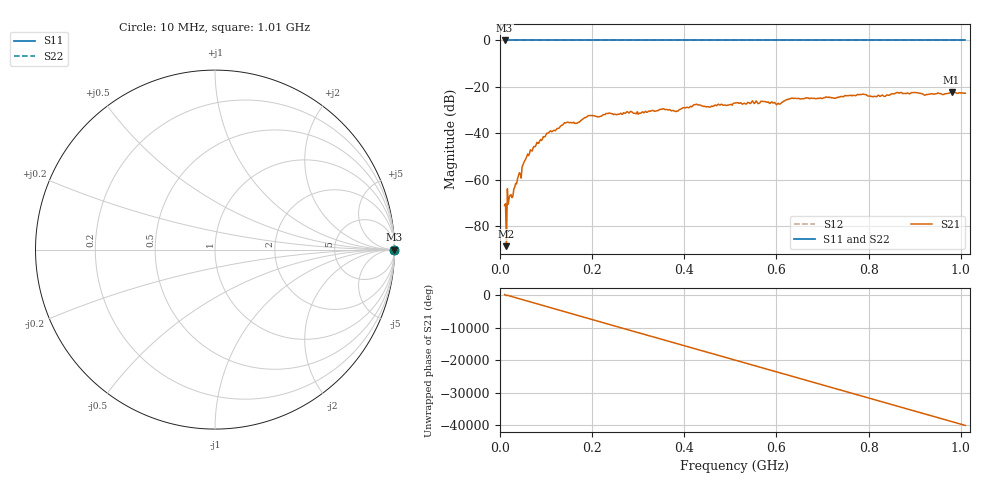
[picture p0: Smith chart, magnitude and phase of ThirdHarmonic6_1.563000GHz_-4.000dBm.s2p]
! 8/16/2025 6:34:12 PM
! C:\ANRITSUVNA\TEMP\TEMP.S2P
! CHANNEL.1
! TR.MEASUREMENT
! RAW.DATA
! RF.CORRECTION.OFF
! AVERAGING.OFF
! IF.BANDWIDTH: 5KHZ
! SWEEPTYPE:  FREQ.SWEEP(Linear)
! Reference Plane Port Info
! PORT:  PORT1  PORT2
! DISTANCE:  0  m  0  m
! TIME:  0  s  0  s
! PHASE.OFFSET:  0  deg.  0  deg.
! LOSS:  0  dB  0  dB
! REF.LOSS:  0  dB  0  dB
! REF.FREQ:  0  Hz  0  Hz
! Power Info
! POWER:  -20  dBm  -20  dBm
! EFF.POWER:  -20  dBm  -20  dBm
! SOURCE.ATTEN:  0  dB  0  dB
! TEST.ATTEN:  0  dB  0  dB
# GHZ S RI R 50.0
! FREQ.GHZ  S11RE  S11IM  S21RE  S21IM  S12RE  S12IM  S22RE  S22IM
!; PortSelection: Port_12
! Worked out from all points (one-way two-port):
!   501 points, 10 MHz to 1.01 GHz, reference 50 ohm
!   highest |S21| = -22.30 dB at 980 MHz (marker M1); lowest = -88.6 dB at 14 MHz (marker M2)
!   lowest |S11| = 0.0 dB at 10 MHz (marker M3)
!   |S11| at or under -10 dB: nowhere
!   |S22| runs from 0.0 to 0.0 dB; largest |S21 - S12| = 1.1
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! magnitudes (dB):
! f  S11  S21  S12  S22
! 10 MHz  0.0  -71.1  0.0  0.0
! 14 MHz  0.0  -88.6  0.0  0.0
! 18 MHz  0.0  -70.5  0.0  0.0
! 20 MHz  0.0  -67.6  0.0  0.0
! 28 MHz  0.0  -67.1  0.0  0.0
! 56 MHz  0.0  -51.0  0.0  0.0
! 76 MHz  0.0  -45.8  0.0  0.0
! 106 MHz  0.0  -39.6  0.0  0.0
! 142 MHz  0.0  -35.5  0.0  0.0
! 178 MHz  0.0  -34.2  0.0  0.0
! 234 MHz  0.0  -31.6  0.0  0.0
! 344 MHz  0.0  -30.1  0.0  0.0
! 382 MHz  0.0  -30.6  0.0  0.0
! 424 MHz  0.0  -27.6  0.0  0.0
! 452 MHz  0.0  -28.5  0.0  0.0
! 510 MHz  0.0  -26.9  0.0  0.0
! 604 MHz  0.0  -27.0  0.0  0.0
! 632 MHz  0.0  -24.9  0.0  0.0
! 678 MHz  0.0  -25.0  0.0  0.0
! 844 MHz  0.0  -23.6  0.0  0.0
! 980 MHz  0.0  -22.3  0.0  0.0
! 1.01 GHz  0.0  -22.8  0.0  0.0
